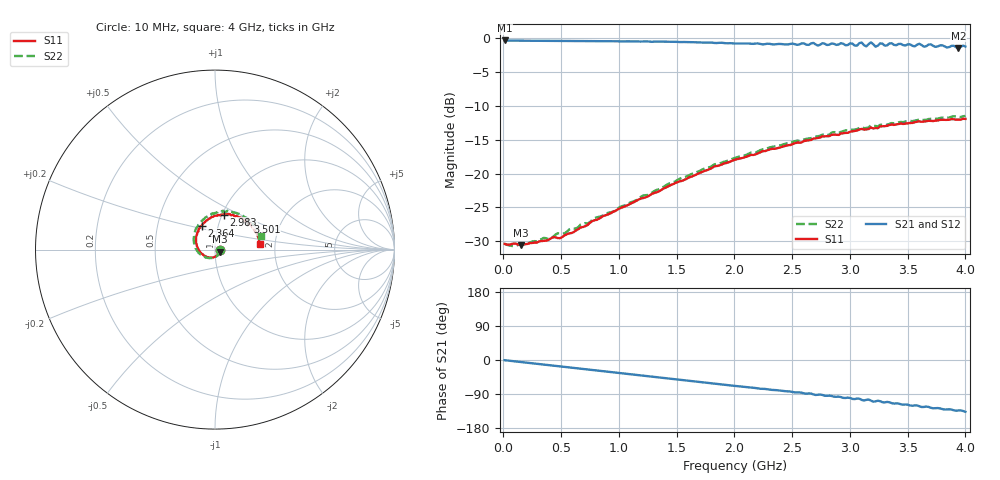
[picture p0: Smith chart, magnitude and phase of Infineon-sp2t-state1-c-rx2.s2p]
! 5/10/2016 1:43:44 PM
! C:\ANRITSUVNA\DATA\INFINEON-SP2T-STATE1-C-RX2.S2P
! CHANNEL.1
! TR.MEASUREMENT
! CORRECTED.DATA
# GHZ S RI R 50.0
! FREQ.GHZ  S11RE  S11IM  S21RE  S21IM  S12RE  S12IM  S22RE  S22IM
!; PortSelection: Port_12
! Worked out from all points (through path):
!   201 points, 10 MHz to 4 GHz, reference 50 ohm
!   highest |S21| = -0.29 dB at 10 MHz (marker M1); lowest = -1.4 dB at 3.94 GHz (marker M2)
!   group delay of S21, straight-line fit = 93.5 ps
!   lowest |S11| = -30.6 dB at 149.7 MHz (marker M3), VSWR 1.06, Z = 52.8 - j1.24 ohm
!   |S11| at or under -10 dB: start of sweep to end of sweep
!   |S22| runs from -30.8 to -11.5 dB; largest |S21 - S12| = 0.026
!   S11 on the Smith chart (normalised r, x): 10 MHz: 1.06, -0.00; 2.364 GHz: 0.83, +0.23; 2.983 GHz: 1.02, +0.41; 3.501 GHz: 1.36, +0.44; 4 GHz: 1.67, +0.10
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0.01  0.0301 -0.00195  0.9669 -0.00848  0.9664 -0.00794  0.0301 -0.00253
0.14965  0.0272 -0.0117  0.9593 -0.0887  0.9591 -0.0885  0.0278 -0.0115
0.6883  -0.0024 -0.0401  0.8763 -0.3826  0.8759 -0.3825  0.00107 -0.0427
1.34665  -0.0692 -0.0258  0.6574 -0.684  0.6561 -0.6821  -0.0675 -0.0361
2.005  -0.1054 0.0702  0.3379 -0.8536  0.3453 -0.8542  -0.1187 0.0543
2.3641  -0.0746 0.1339  0.1642 -0.8919  0.1637 -0.8993  -0.1012 0.1228
2.6833  -0.0215 0.1801  -0.0109 -0.9276  0.00201 -0.9201  -0.0553 0.1778
2.7232  -0.0111 0.1833  -0.0249 -0.8852  -0.0202 -0.9041  -0.0438 0.1838
2.7631  -0.00258 0.1886  -0.0373 -0.9225  -0.0462 -0.9224  -0.0402 0.1902
2.98255  0.0494 0.194  -0.1453 -0.8835  -0.1458 -0.8857  0.0147 0.2083
3.02245  0.0607 0.1961  -0.202 -0.8922  -0.203 -0.9022  0.0248 0.2095
3.0823  0.0735 0.1986  -0.1948 -0.9036  -0.2031 -0.8984  0.0379 0.2144
3.1222  0.0876 0.1924  -0.2588 -0.854  -0.2538 -0.8643  0.0487 0.2112
3.1621  0.0923 0.1922  -0.226 -0.8796  -0.2449 -0.8853  0.0601 0.2112
3.202  0.1056 0.1878  -0.3086 -0.8521  -0.3031 -0.8482  0.0729 0.2125
3.2419  0.1139 0.1843  -0.2647 -0.8446  -0.2789 -0.8629  0.0788 0.2081
3.2818  0.1291 0.1828  -0.3342 -0.8519  -0.3504 -0.8394  0.0956 0.2092
3.34165  0.1426 0.1787  -0.3359 -0.855  -0.3484 -0.8519  0.1073 0.2068
3.50125  0.1797 0.1523  -0.4252 -0.7993  -0.4259 -0.7929  0.1535 0.1902
3.70075  0.2194 0.1095  -0.5325 -0.7318  -0.5255 -0.7091  0.2033 0.1524
3.94015  0.2462 0.0451  -0.5811 -0.6209  -0.5859 -0.6209  0.2434 0.0985
4  0.2521 0.0289  -0.6341 -0.598  -0.6278 -0.5946  0.2565 0.0749
